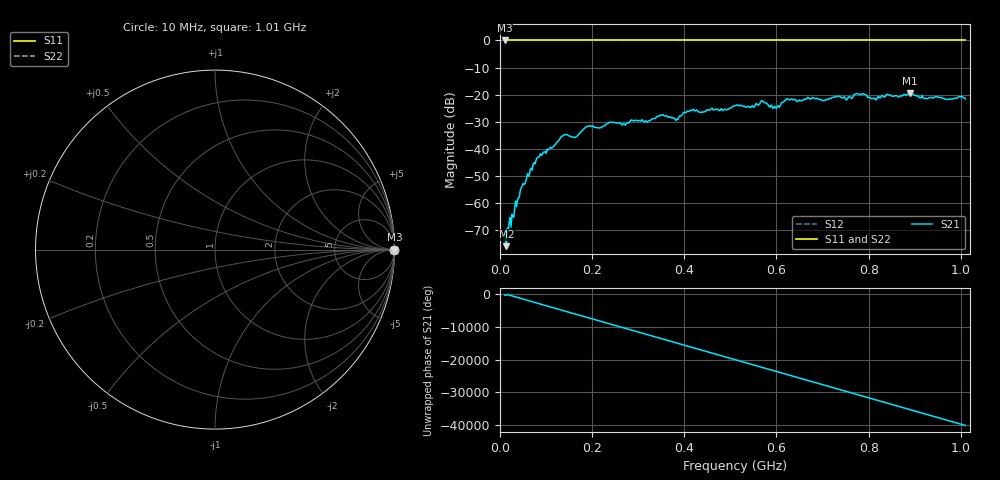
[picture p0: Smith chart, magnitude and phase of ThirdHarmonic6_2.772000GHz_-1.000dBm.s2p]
! 8/17/2025 7:03:38 AM
! C:\ANRITSUVNA\TEMP\TEMP.S2P
! CHANNEL.1
! TR.MEASUREMENT
! RAW.DATA
! RF.CORRECTION.OFF
! AVERAGING.OFF
! IF.BANDWIDTH: 5KHZ
! SWEEPTYPE:  FREQ.SWEEP(Linear)
! Reference Plane Port Info
! PORT:  PORT1  PORT2
! DISTANCE:  0  m  0  m
! TIME:  0  s  0  s
! PHASE.OFFSET:  0  deg.  0  deg.
! LOSS:  0  dB  0  dB
! REF.LOSS:  0  dB  0  dB
! REF.FREQ:  0  Hz  0  Hz
! Power Info
! POWER:  -20  dBm  -20  dBm
! EFF.POWER:  -20  dBm  -20  dBm
! SOURCE.ATTEN:  0  dB  0  dB
! TEST.ATTEN:  0  dB  0  dB
# GHZ S RI R 50.0
! FREQ.GHZ  S11RE  S11IM  S21RE  S21IM  S12RE  S12IM  S22RE  S22IM
!; PortSelection: Port_12
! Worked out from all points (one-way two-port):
!   501 points, 10 MHz to 1.01 GHz, reference 50 ohm
!   highest |S21| = -19.53 dB at 890 MHz (marker M1); lowest = -76.0 dB at 14 MHz (marker M2)
!   lowest |S11| = 0.0 dB at 10 MHz (marker M3)
!   |S11| at or under -10 dB: nowhere
!   |S22| runs from 0.0 to 0.0 dB; largest |S21 - S12| = 1.1
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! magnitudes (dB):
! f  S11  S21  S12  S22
! 10 MHz  0.0  -70.5  0.0  0.0
! 14 MHz  0.0  -76.0  0.0  0.0
! 48 MHz  0.0  -53.8  0.0  0.0
! 84 MHz  0.0  -43.2  0.0  0.0
! 136 MHz  0.0  -35.3  0.0  0.0
! 162 MHz  0.0  -35.9  0.0  0.0
! 178 MHz  0.0  -33.4  0.0  0.0
! 192 MHz  0.0  -31.6  0.0  0.0
! 316 MHz  0.0  -29.7  0.0  0.0
! 344 MHz  0.0  -28.1  0.0  0.0
! 382 MHz  0.0  -29.6  0.0  0.0
! 416 MHz  0.0  -25.9  0.0  0.0
! 510 MHz  0.0  -24.1  0.0  0.0
! 548 MHz  0.0  -24.1  0.0  0.0
! 570 MHz  0.0  -22.4  0.0  0.0
! 596 MHz  0.0  -24.3  0.0  0.0
! 622 MHz  0.0  -21.5  0.0  0.0
! 678 MHz  0.0  -21.2  0.0  0.0
! 844 MHz  0.0  -20.1  0.0  0.0
! 890 MHz  0.0  -19.5  0.0  0.0
! 924 MHz  0.0  -21.3  0.0  0.0
! 1.01 GHz  0.0  -21.6  0.0  0.0
